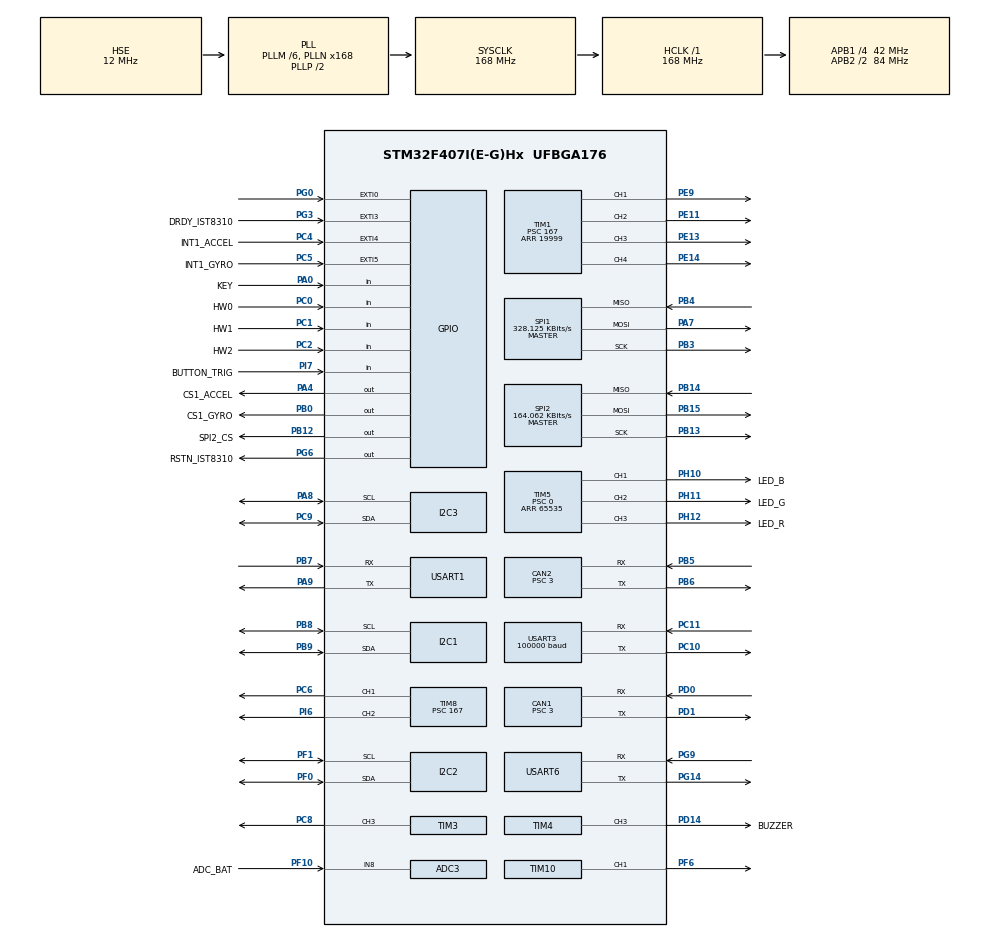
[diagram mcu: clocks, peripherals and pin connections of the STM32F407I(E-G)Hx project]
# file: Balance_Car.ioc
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ADC1.Channel-0\#ChannelRegularConversion=ADC_CHANNEL_TEMPSENSOR
ADC1.ClockPrescaler=ADC_CLOCK_SYNC_PCLK_DIV6
ADC1.NbrOfConversionFlag=1
ADC1.Rank-0\#ChannelRegularConversion=1
ADC1.SamplingTime-0\#ChannelRegularConversion=ADC_SAMPLETIME_3CYCLES
ADC1.master=1
ADC3.Channel-0\#ChannelRegularConversion=ADC_CHANNEL_8
ADC3.ClockPrescaler=ADC_CLOCK_SYNC_PCLK_DIV6
ADC3.NbrOfConversionFlag=1
ADC3.Rank-0\#ChannelRegularConversion=1
ADC3.SamplingTime-0\#ChannelRegularConversion=ADC_SAMPLETIME_3CYCLES
CAN1.BS1=CAN_BS1_10TQ
CAN1.BS2=CAN_BS2_3TQ
CAN1.CalculateBaudRate=1000000
CAN1.CalculateTimeQuantum=71.42857142857143
CAN1.Prescaler=3
CAN2.BS1=CAN_BS1_10TQ
CAN2.BS2=CAN_BS2_3TQ
CAN2.CalculateBaudRate=1000000
CAN2.CalculateTimeQuantum=71.42857142857143
CAN2.Prescaler=3
Dma.I2C2_TX.2.Direction=DMA_MEMORY_TO_PERIPH
Dma.I2C2_TX.2.FIFOMode=DMA_FIFOMODE_DISABLE
Dma.I2C2_TX.2.Instance=DMA1_Stream7
Dma.I2C2_TX.2.MemDataAlignment=DMA_MDATAALIGN_BYTE
Dma.I2C2_TX.2.MemInc=DMA_MINC_ENABLE
Dma.I2C2_TX.2.Mode=DMA_NORMAL
Dma.I2C2_TX.2.PeriphDataAlignment=DMA_PDATAALIGN_BYTE
Dma.I2C2_TX.2.PeriphInc=DMA_PINC_DISABLE
Dma.I2C2_TX.2.Priority=DMA_PRIORITY_HIGH
Dma.Request0=SPI1_RX
Dma.Request1=SPI1_TX
Dma.Request2=I2C2_TX
Dma.Request3=USART3_RX
Dma.Request4=USART6_RX
Dma.Request5=USART6_TX
Dma.Request6=USART1_TX
Dma.SPI1_RX.0.Direction=DMA_PERIPH_TO_MEMORY
Dma.SPI1_RX.0.FIFOMode=DMA_FIFOMODE_DISABLE
Dma.SPI1_RX.0.Instance=DMA2_Stream2
Dma.SPI1_RX.0.MemDataAlignment=DMA_MDATAALIGN_BYTE
Dma.SPI1_RX.0.MemInc=DMA_MINC_ENABLE
Dma.SPI1_RX.0.Mode=DMA_NORMAL
Dma.SPI1_RX.0.PeriphDataAlignment=DMA_PDATAALIGN_BYTE
Dma.SPI1_RX.0.PeriphInc=DMA_PINC_DISABLE
Dma.SPI1_RX.0.Priority=DMA_PRIORITY_VERY_HIGH
Dma.SPI1_TX.1.Direction=DMA_MEMORY_TO_PERIPH
Dma.SPI1_TX.1.FIFOMode=DMA_FIFOMODE_DISABLE
Dma.SPI1_TX.1.Instance=DMA2_Stream3
Dma.SPI1_TX.1.MemDataAlignment=DMA_MDATAALIGN_BYTE
Dma.SPI1_TX.1.MemInc=DMA_MINC_ENABLE
Dma.SPI1_TX.1.Mode=DMA_NORMAL
Dma.SPI1_TX.1.PeriphDataAlignment=DMA_PDATAALIGN_BYTE
Dma.SPI1_TX.1.PeriphInc=DMA_PINC_DISABLE
Dma.SPI1_TX.1.Priority=DMA_PRIORITY_HIGH
Dma.USART1_TX.6.Direction=DMA_MEMORY_TO_PERIPH
Dma.USART1_TX.6.FIFOMode=DMA_FIFOMODE_DISABLE
Dma.USART1_TX.6.Instance=DMA2_Stream7
Dma.USART1_TX.6.MemDataAlignment=DMA_MDATAALIGN_BYTE
Dma.USART1_TX.6.MemInc=DMA_MINC_ENABLE
Dma.USART1_TX.6.Mode=DMA_NORMAL
Dma.USART1_TX.6.PeriphDataAlignment=DMA_PDATAALIGN_BYTE
Dma.USART1_TX.6.PeriphInc=DMA_PINC_DISABLE
Dma.USART1_TX.6.Priority=DMA_PRIORITY_MEDIUM
Dma.USART3_RX.3.Direction=DMA_PERIPH_TO_MEMORY
Dma.USART3_RX.3.FIFOMode=DMA_FIFOMODE_DISABLE
Dma.USART3_RX.3.Instance=DMA1_Stream1
Dma.USART3_RX.3.MemDataAlignment=DMA_MDATAALIGN_BYTE
Dma.USART3_RX.3.MemInc=DMA_MINC_ENABLE
Dma.USART3_RX.3.Mode=DMA_NORMAL
Dma.USART3_RX.3.PeriphDataAlignment=DMA_PDATAALIGN_BYTE
Dma.USART3_RX.3.PeriphInc=DMA_PINC_DISABLE
Dma.USART3_RX.3.Priority=DMA_PRIORITY_HIGH
Dma.USART6_RX.4.Direction=DMA_PERIPH_TO_MEMORY
Dma.USART6_RX.4.FIFOMode=DMA_FIFOMODE_DISABLE
Dma.USART6_RX.4.Instance=DMA2_Stream1
Dma.USART6_RX.4.MemDataAlignment=DMA_MDATAALIGN_BYTE
Dma.USART6_RX.4.MemInc=DMA_MINC_ENABLE
Dma.USART6_RX.4.Mode=DMA_NORMAL
Dma.USART6_RX.4.PeriphDataAlignment=DMA_PDATAALIGN_BYTE
Dma.USART6_RX.4.PeriphInc=DMA_PINC_DISABLE
Dma.USART6_RX.4.Priority=DMA_PRIORITY_HIGH
Dma.USART6_TX.5.Direction=DMA_MEMORY_TO_PERIPH
Dma.USART6_TX.5.FIFOMode=DMA_FIFOMODE_DISABLE
Dma.USART6_TX.5.Instance=DMA2_Stream6
Dma.USART6_TX.5.MemDataAlignment=DMA_MDATAALIGN_BYTE
Dma.USART6_TX.5.MemInc=DMA_MINC_ENABLE
Dma.USART6_TX.5.Mode=DMA_NORMAL
Dma.USART6_TX.5.PeriphDataAlignment=DMA_PDATAALIGN_BYTE
Dma.USART6_TX.5.PeriphInc=DMA_PINC_DISABLE
Dma.USART6_TX.5.Priority=DMA_PRIORITY_MEDIUM
FREERTOS.INCLUDE_eTaskGetState=1
FREERTOS.INCLUDE_pcTaskGetTaskName=1
FREERTOS.INCLUDE_uxTaskGetStackHighWaterMark=1
FREERTOS.INCLUDE_vTaskCleanUpResources=1
FREERTOS.INCLUDE_vTaskDelayUntil=1
FREERTOS.INCLUDE_xEventGroupSetBitFromISR=1
FREERTOS.INCLUDE_xQueueGetMutexHolder=1
FREERTOS.INCLUDE_xSemaphoreGetMutexHolder=1
FREERTOS.INCLUDE_xTaskAbortDelay=1
FREERTOS.INCLUDE_xTaskGetCurrentTaskHandle=1
FREERTOS.INCLUDE_xTaskGetHandle=1
FREERTOS.INCLUDE_xTimerPendFunctionCall=1
FREERTOS.Tasks01=test,24,128,test_task,As weak,NULL,Dynamic,NULL,NULL
FREERTOS.configTOTAL_HEAP_SIZE=24576
I2C1.I2C_Mode=I2C_Fast
I2C2.I2C_Mode=I2C_Fast
I2C3.I2C_Mode=I2C_Fast
Mcu.Family=STM32F4
Mcu.Name=STM32F407I(E-G)Hx
Mcu.Package=UFBGA176
NVIC.CAN1_RX0_IRQn=true\:6\:0\:true\:false\:true\:true\:true\:true\:true
NVIC.CAN2_RX0_IRQn=true\:6\:0\:true\:false\:true\:true\:true\:true\:true
NVIC.DMA1_Stream1_IRQn=true\:5\:0\:true\:false\:false\:true\:false\:false\:true
NVIC.DMA1_Stream7_IRQn=true\:5\:0\:true\:false\:false\:true\:false\:true\:true
NVIC.DMA2_Stream1_IRQn=true\:5\:0\:true\:false\:true\:true\:false\:true\:true
NVIC.DMA2_Stream2_IRQn=true\:5\:0\:true\:false\:false\:true\:false\:true\:true
NVIC.DMA2_Stream3_IRQn=true\:5\:0\:true\:false\:false\:true\:false\:true\:true
NVIC.DMA2_Stream6_IRQn=true\:5\:0\:true\:false\:true\:true\:false\:true\:true
NVIC.DMA2_Stream7_IRQn=true\:5\:0\:true\:false\:true\:true\:false\:true\:true
NVIC.EXTI0_IRQn=true\:6\:0\:true\:false\:true\:true\:true\:true\:true
NVIC.EXTI3_IRQn=true\:5\:0\:true\:false\:true\:true\:true\:true\:true
NVIC.EXTI4_IRQn=true\:5\:0\:true\:false\:true\:true\:true\:true\:true
NVIC.EXTI9_5_IRQn=true\:5\:0\:true\:false\:true\:true\:true\:true\:true
NVIC.PriorityGroup=NVIC_PRIORITYGROUP_4
NVIC.USART3_IRQn=true\:4\:0\:true\:false\:false\:false\:true\:true\:true
NVIC.USART6_IRQn=true\:5\:0\:true\:false\:false\:true\:true\:true\:true
PA0-WKUP.GPIO_Label=KEY
PA0-WKUP.GPIO_PuPd=GPIO_PULLUP
PA0-WKUP.Signal=GPIO_Input
PA13.Mode=Serial_Wire
PA13.Signal=SYS_JTMS-SWDIO
PA14.Mode=Serial_Wire
PA14.Signal=SYS_JTCK-SWCLK
PA4.GPIO_Label=CS1_ACCEL
PA4.GPIO_PuPd=GPIO_PULLUP
PA4.GPIO_Speed=GPIO_SPEED_FREQ_HIGH
PA4.PinState=GPIO_PIN_SET
PA4.Signal=GPIO_Output
PA7.GPIO_PuPd=GPIO_PULLUP
PA7.Mode=Full_Duplex_Master
PA7.Signal=SPI1_MOSI
PA8.GPIO_Pu=GPIO_PULLUP
PA8.Mode=I2C
PA8.Signal=I2C3_SCL
PA9.Mode=Asynchronous
PA9.Signal=USART1_TX
PB0.GPIO_Label=CS1_GYRO
PB0.GPIO_PuPd=GPIO_PULLUP
PB0.GPIO_Speed=GPIO_SPEED_FREQ_HIGH
PB0.PinState=GPIO_PIN_SET
PB0.Signal=GPIO_Output
PB12.GPIO_Label=SPI2_CS
PB12.GPIO_PuPd=GPIO_PULLUP
PB12.GPIO_Speed=GPIO_SPEED_FREQ_MEDIUM
PB12.PinState=GPIO_PIN_SET
PB12.Signal=GPIO_Output
PB13.GPIO_PuPd=GPIO_PULLUP
PB13.Mode=Full_Duplex_Master
PB13.Signal=SPI2_SCK
PB14.GPIO_PuPd=GPIO_PULLUP
PB14.Mode=Full_Duplex_Master
PB14.Signal=SPI2_MISO
PB15.GPIO_PuPd=GPIO_PULLUP
PB15.Mode=Full_Duplex_Master
PB15.Signal=SPI2_MOSI
PB3.GPIO_PuPd=GPIO_PULLUP
PB3.Mode=Full_Duplex_Master
PB3.Signal=SPI1_SCK
PB4.GPIO_PuPd=GPIO_PULLUP
PB4.Mode=Full_Duplex_Master
PB4.Signal=SPI1_MISO
PB5.Mode=CAN_Activate
PB5.Signal=CAN2_RX
PB6.Mode=CAN_Activate
PB6.Signal=CAN2_TX
PB7.Mode=Asynchronous
PB7.Signal=USART1_RX
PB8.GPIO_Pu=GPIO_PULLUP
PB8.Mode=I2C
PB8.Signal=I2C1_SCL
PB9.GPIO_Pu=GPIO_PULLUP
PB9.Mode=I2C
PB9.Signal=I2C1_SDA
PC0.GPIO_Label=HW0
PC0.Signal=GPIO_Input
PC1.GPIO_Label=HW1
PC1.Signal=GPIO_Input
PC10.Mode=Asynchronous
PC10.Signal=USART3_TX
PC11.Mode=Asynchronous
PC11.Signal=USART3_RX
PC2.GPIO_Label=HW2
PC2.Signal=GPIO_Input
PC4.GPIO_Label=INT1_ACCEL
PC4.GPIO_ModeDefaultEXTI=GPIO_MODE_IT_FALLING
PC4.GPIO_PuPd=GPIO_PULLUP
PC4.Signal=GPXTI4
PC5.GPIO_Label=INT1_GYRO
PC5.GPIO_ModeDefaultEXTI=GPIO_MODE_IT_FALLING
PC5.GPIO_PuPd=GPIO_PULLUP
PC5.Signal=GPXTI5
PC6.GPIO_PuPd=GPIO_PULLUP
PC6.GPIO_Speed=GPIO_SPEED_FREQ_HIGH
PC6.Signal=S_TIM8_CH1
PC8.GPIO_PuPd=GPIO_PULLUP
PC8.GPIO_Speed=GPIO_SPEED_FREQ_HIGH
PC8.Signal=S_TIM3_CH3
PC9.GPIO_Pu=GPIO_PULLUP
PC9.Mode=I2C
PC9.Signal=I2C3_SDA
PD0.Mode=CAN_Activate
PD0.Signal=CAN1_RX
PD1.Mode=CAN_Activate
PD1.Signal=CAN1_TX
PD14.GPIO_Label=BUZZER
PD14.GPIO_PuPd=GPIO_PULLUP
PD14.GPIO_Speed=GPIO_SPEED_FREQ_VERY_HIGH
PD14.Signal=S_TIM4_CH3
PE11.GPIO_PuPd=GPIO_PULLUP
PE11.GPIO_Speed=GPIO_SPEED_FREQ_HIGH
PE11.Signal=S_TIM1_CH2
PE13.GPIO_PuPd=GPIO_PULLUP
PE13.GPIO_Speed=GPIO_SPEED_FREQ_HIGH
PE13.Signal=S_TIM1_CH3
PE14.GPIO_PuPd=GPIO_PULLUP
PE14.GPIO_Speed=GPIO_SPEED_FREQ_HIGH
PE14.Signal=S_TIM1_CH4
PE9.GPIO_PuPd=GPIO_PULLUP
PE9.GPIO_Speed=GPIO_SPEED_FREQ_HIGH
PE9.Signal=S_TIM1_CH1
PF0.GPIO_Pu=GPIO_PULLUP
PF0.Mode=I2C
PF0.Signal=I2C2_SDA
PF1.GPIO_Pu=GPIO_PULLUP
PF1.Mode=I2C
PF1.Signal=I2C2_SCL
PF10.GPIO_Label=ADC_BAT
PF10.Mode=IN8
PF10.Signal=ADC3_IN8
PF6.GPIO_PuPd=GPIO_PULLUP
PF6.GPIO_Speed=GPIO_SPEED_FREQ_HIGH
PF6.Signal=S_TIM10_CH1
PG0.GPIO_ModeDefaultEXTI=GPIO_MODE_IT_FALLING
PG0.GPIO_PuPd=GPIO_PULLUP
PG0.Signal=GPXTI0
PG14.Mode=Asynchronous
PG14.Signal=USART6_TX
PG3.GPIO_Label=DRDY_IST8310
PG3.GPIO_ModeDefaultEXTI=GPIO_MODE_IT_FALLING
PG3.GPIO_PuPd=GPIO_PULLUP
PG3.Signal=GPXTI3
PG6.GPIO_Label=RSTN_IST8310
PG6.GPIO_PuPd=GPIO_PULLUP
PG6.GPIO_Speed=GPIO_SPEED_FREQ_MEDIUM
PG6.PinState=GPIO_PIN_SET
PG6.Signal=GPIO_Output
PG9.Mode=Asynchronous
PG9.Signal=USART6_RX
PH0-OSC_IN.Mode=HSE-External-Oscillator
PH0-OSC_IN.Signal=RCC_OSC_IN
PH1-OSC_OUT.Mode=HSE-External-Oscillator
PH1-OSC_OUT.Signal=RCC_OSC_OUT
PH10.GPIO_Label=LED_B
PH10.GPIO_PuPd=GPIO_PULLUP
PH10.GPIO_Speed=GPIO_SPEED_FREQ_HIGH
PH10.Signal=S_TIM5_CH1
PH11.GPIO_Label=LED_G
PH11.GPIO_PuPd=GPIO_PULLUP
PH11.GPIO_Speed=GPIO_SPEED_FREQ_HIGH
PH11.Signal=S_TIM5_CH2
PH12.GPIO_Label=LED_R
PH12.GPIO_PuPd=GPIO_PULLUP
PH12.GPIO_Speed=GPIO_SPEED_FREQ_HIGH
PH12.Signal=S_TIM5_CH3
PI6.GPIO_PuPd=GPIO_PULLUP
PI6.GPIO_Speed=GPIO_SPEED_FREQ_HIGH
PI6.Signal=S_TIM8_CH2
PI7.GPIO_Label=BUTTON_TRIG
PI7.GPIO_PuPd=GPIO_PULLUP
PI7.Signal=GPIO_Input
ProjectManager.HeapSize=0x2000
ProjectManager.StackSize=0x2000
ProjectManager.TargetToolchain=MDK-ARM V5.32
RCC.48MHZClocksFreq_Value=48000000
RCC.AHBFreq_Value=168000000
RCC.APB1CLKDivider=RCC_HCLK_DIV4
RCC.APB1Freq_Value=42000000
RCC.APB1TimFreq_Value=84000000
RCC.APB2CLKDivider=RCC_HCLK_DIV2
RCC.APB2Freq_Value=84000000
RCC.APB2TimFreq_Value=168000000
RCC.CortexFreq_Value=168000000
RCC.HCLKFreq_Value=168000000
RCC.HSE_VALUE=12000000
RCC.HSI_VALUE=16000000
RCC.LSE_VALUE=32768
RCC.PLLM=6
RCC.PLLN=168
RCC.PLLQ=7
RCC.PLLSourceVirtual=RCC_PLLSOURCE_HSE
RCC.RCC_RTC_Clock_SourceVirtual=RCC_RTCCLKSOURCE_HSE_DIV30
RCC.RCC_RTC_Clock_Source_FROM_HSE=RCC_RTCCLKSOURCE_HSE_DIV30
RCC.SYSCLKFreq_VALUE=168000000
RCC.SYSCLKSource=RCC_SYSCLKSOURCE_PLLCLK
RCC.VCOOutputFreq_Value=336000000
RTC.AsynchPrediv=124
RTC.SynchPrediv=3199
SH.S_TIM10_CH1.0=TIM10_CH1,PWM Generation1 CH1
SH.S_TIM1_CH1.0=TIM1_CH1,PWM Generation1 CH1
SH.S_TIM1_CH2.0=TIM1_CH2,PWM Generation2 CH2
SH.S_TIM1_CH3.0=TIM1_CH3,PWM Generation3 CH3
SH.S_TIM1_CH4.0=TIM1_CH4,PWM Generation4 CH4
SH.S_TIM3_CH3.0=TIM3_CH3,PWM Generation3 CH3
SH.S_TIM4_CH3.0=TIM4_CH3,PWM Generation3 CH3
SH.S_TIM5_CH1.0=TIM5_CH1,PWM Generation1 CH1
SH.S_TIM5_CH2.0=TIM5_CH2,PWM Generation2 CH2
SH.S_TIM5_CH3.0=TIM5_CH3,PWM Generation3 CH3
SH.S_TIM8_CH1.0=TIM8_CH1,PWM Generation1 CH1
SH.S_TIM8_CH2.0=TIM8_CH2,PWM Generation2 CH2
SPI1.BaudRatePrescaler=SPI_BAUDRATEPRESCALER_256
SPI1.CLKPhase=SPI_PHASE_2EDGE
SPI1.CLKPolarity=SPI_POLARITY_HIGH
SPI1.CalculateBaudRate=328.125 KBits/s
SPI1.Direction=SPI_DIRECTION_2LINES
SPI1.Mode=SPI_MODE_MASTER
SPI1.VirtualType=VM_MASTER
SPI2.BaudRatePrescaler=SPI_BAUDRATEPRESCALER_256
SPI2.CLKPhase=SPI_PHASE_2EDGE
SPI2.CLKPolarity=SPI_POLARITY_HIGH
SPI2.CalculateBaudRate=164.062 KBits/s
SPI2.Direction=SPI_DIRECTION_2LINES
SPI2.Mode=SPI_MODE_MASTER
SPI2.VirtualType=VM_MASTER
TIM1.Channel-PWM\ Generation1\ CH1=TIM_CHANNEL_1
TIM1.Channel-PWM\ Generation2\ CH2=TIM_CHANNEL_2
TIM1.Channel-PWM\ Generation3\ CH3=TIM_CHANNEL_3
TIM1.Channel-PWM\ Generation4\ CH4=TIM_CHANNEL_4
TIM1.Period=19999
TIM1.Prescaler=167
TIM1.Pulse-PWM\ Generation1\ CH1=1000
TIM1.Pulse-PWM\ Generation2\ CH2=1000
TIM1.Pulse-PWM\ Generation3\ CH3=1000
TIM1.Pulse-PWM\ Generation4\ CH4=1000
TIM10.Channel=TIM_CHANNEL_1
TIM10.Period=4999
TIM3.Channel-PWM\ Generation3\ CH3=TIM_CHANNEL_3
TIM3.Period=8399
TIM4.Channel-PWM\ Generation3\ CH3=TIM_CHANNEL_3
TIM4.Period=65535
TIM4.Prescaler=167
TIM5.Channel-PWM\ Generation1\ CH1=TIM_CHANNEL_1
TIM5.Channel-PWM\ Generation2\ CH2=TIM_CHANNEL_2
TIM5.Channel-PWM\ Generation3\ CH3=TIM_CHANNEL_3
TIM5.Period=65535
TIM5.Prescaler=0
TIM8.Channel-PWM\ Generation1\ CH1=TIM_CHANNEL_1
TIM8.Channel-PWM\ Generation2\ CH2=TIM_CHANNEL_2
TIM8.Period=19999
TIM8.Prescaler=167
TIM8.Pulse-PWM\ Generation1\ CH1=1000
TIM8.Pulse-PWM\ Generation2\ CH2=1000
USART1.VirtualMode=VM_ASYNC
USART3.BaudRate=100000
USART3.Parity=PARITY_EVEN
USART3.VirtualMode=VM_ASYNC
USART6.VirtualMode=VM_ASYNC
VP_ADC1_TempSens_Input.Mode=IN-TempSens
VP_ADC1_Vref_Input.Mode=IN-Vrefint
VP_CRC_VS_CRC.Mode=CRC_Activate
VP_FREERTOS_VS_CMSIS_V1.Mode=CMSIS_V1
VP_RNG_VS_RNG.Mode=RNG_Activate
VP_RTC_VS_RTC_Activate.Mode=RTC_Enabled
VP_TIM10_VS_ClockSourceINT.Mode=Enable_Timer
VP_TIM1_VS_ClockSourceINT.Mode=Internal
VP_TIM3_VS_ClockSourceINT.Mode=Internal
VP_TIM4_VS_ClockSourceINT.Mode=Internal
VP_TIM5_VS_ClockSourceINT.Mode=Internal
VP_TIM8_VS_ClockSourceINT.Mode=Internal
board=custom

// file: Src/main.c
/* USER CODE BEGIN Header */
/**
  ******************************************************************************
  * @file           : main.c
  * @brief          : Main program body
  ******************************************************************************
  * @attention
  *
  * <h2><center>&copy; Copyright (c) 2019 STMicroelectronics.
  * All rights reserved.</center></h2>
  *
  * This software component is licensed by ST under Ultimate Liberty license
  * SLA0044, the "License"; You may not use this file except in compliance with
  * the License. You may obtain a copy of the License at:
  *                             www.st.com/SLA0044
  *
  ******************************************************************************
  */
/* USER CODE END Header */

#include "main.h"
#include "cmsis_os.h"
#include "adc.h"
#include "can.h"
#include "crc.h"
#include "dma.h"
#include "i2c.h"
#include "rng.h"
#include "rtc.h"
#include "spi.h"
#include "tim.h"
#include "usart.h"
#include "gpio.h"

/* USER CODE BEGIN Includes */

#include "bsp_can.h"
#include "bsp_delay.h"
#include "bsp_usart.h"

#include "remote_control.h"

#include "chassis_task.h"
#include "gimbal_task.h"
#include "INS_task.h"

/* USER CODE END Includes */

void SystemClock_Config(void);
void MX_FREERTOS_Init(void);

int main(void)
{

  /* MCU Configuration--------------------------------------------------------*/

  /* Reset of all peripherals, Initializes the Flash interface and the Systick. */
  HAL_Init();

  /* Configure the system clock */
  SystemClock_Config();

  /* Initialize all configured peripherals */
  MX_GPIO_Init();
  MX_DMA_Init();
  MX_ADC1_Init();
  MX_ADC3_Init();
  MX_CAN1_Init();
  MX_CAN2_Init();
  MX_I2C1_Init();
  MX_SPI1_Init();
  MX_TIM4_Init();
  MX_TIM5_Init();
  MX_USART3_UART_Init();
  MX_TIM8_Init();
  MX_CRC_Init();
  MX_RNG_Init();
  MX_I2C2_Init();
  MX_I2C3_Init();
  MX_RTC_Init();
  MX_SPI2_Init();
  MX_TIM1_Init();
  MX_TIM3_Init();
  MX_TIM10_Init();
  MX_USART1_UART_Init();
  MX_USART6_UART_Init();
  /* USER CODE BEGIN 2 */
	remote_control_init();
    can_filter_init();
    delay_init();
  /* USER CODE END 2 */

  /* Call init function for freertos objects (in freertos.c) */
  MX_FREERTOS_Init();

  /* Start scheduler */
  osKernelStart();

  /* We should never get here as control is now taken by the scheduler */

  /* Infinite loop */
  while (1)
  {

  }
}

void SystemClock_Config(void)
{
  RCC_OscInitTypeDef RCC_OscInitStruct = {0};
  RCC_ClkInitTypeDef RCC_ClkInitStruct = {0};
  RCC_PeriphCLKInitTypeDef PeriphClkInitStruct = {0};

  /** Configure the main internal regulator output voltage
  */
  __HAL_RCC_PWR_CLK_ENABLE();
  __HAL_PWR_VOLTAGESCALING_CONFIG(PWR_REGULATOR_VOLTAGE_SCALE1);
  /** Initializes the CPU, AHB and APB busses clocks
  */
  RCC_OscInitStruct.OscillatorType = RCC_OSCILLATORTYPE_HSE;
  RCC_OscInitStruct.HSEState = RCC_HSE_ON;
  RCC_OscInitStruct.PLL.PLLState = RCC_PLL_ON;
  RCC_OscInitStruct.PLL.PLLSource = RCC_PLLSOURCE_HSE;
  RCC_OscInitStruct.PLL.PLLM = 6;
  RCC_OscInitStruct.PLL.PLLN = 168;
  RCC_OscInitStruct.PLL.PLLP = RCC_PLLP_DIV2;
  RCC_OscInitStruct.PLL.PLLQ = 7;
  if (HAL_RCC_OscConfig(&RCC_OscInitStruct) != HAL_OK)
  {
    Error_Handler();
  }
  /** Initializes the CPU, AHB and APB busses clocks
  */
  RCC_ClkInitStruct.ClockType = RCC_CLOCKTYPE_HCLK|RCC_CLOCKTYPE_SYSCLK
                              |RCC_CLOCKTYPE_PCLK1|RCC_CLOCKTYPE_PCLK2;
  RCC_ClkInitStruct.SYSCLKSource = RCC_SYSCLKSOURCE_PLLCLK;
  RCC_ClkInitStruct.AHBCLKDivider = RCC_SYSCLK_DIV1;
  RCC_ClkInitStruct.APB1CLKDivider = RCC_HCLK_DIV4;
  RCC_ClkInitStruct.APB2CLKDivider = RCC_HCLK_DIV2;

  if (HAL_RCC_ClockConfig(&RCC_ClkInitStruct, FLASH_LATENCY_5) != HAL_OK)
  {
    Error_Handler();
  }
  PeriphClkInitStruct.PeriphClockSelection = RCC_PERIPHCLK_RTC;
  PeriphClkInitStruct.RTCClockSelection = RCC_RTCCLKSOURCE_HSE_DIV30;
  if (HAL_RCCEx_PeriphCLKConfig(&PeriphClkInitStruct) != HAL_OK)
  {
    Error_Handler();
  }
}

void Error_Handler(void)
{
}

/************************ (C) COPYRIGHT STMicroelectronics *****END OF FILE****/

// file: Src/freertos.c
/* USER CODE BEGIN Header */
/**
 ******************************************************************************
 * File Name          : freertos.c
 * Description        : Code for freertos applications
 ******************************************************************************
 * @attention
 *
 * <h2><center>&copy; Copyright (c) 2019 STMicroelectronics.
 * All rights reserved.</center></h2>
 *
 * This software component is licensed by ST under Ultimate Liberty license
 * SLA0044, the "License"; You may not use this file except in compliance with
 * the License. You may obtain a copy of the License at:
 *                             www.st.com/SLA0044
 *
 ******************************************************************************
 */
/* USER CODE END Header */

#include "FreeRTOS.h"
#include "task.h"
#include "main.h"
#include "cmsis_os.h"

/* USER CODE BEGIN Includes */

// #include "calibrate_task.h"
#include "chassis_task.h"
#include "detect_task.h"
// #include "gimbal_task.h"
#include "INS_task.h"
// #include "led_flow_task.h"
// #include "oled_task.h"
// #include "referee_usart_task.h"
// #include "usb_task.h"
// #include "voltage_task.h"
// #include "servo_task.h"

/* USER CODE END Includes */

/* USER CODE BEGIN Variables */

osThreadId imuTaskHandle;
osThreadId detect_handle;
osThreadId chassisTaskHandle;

/* USER CODE END Variables */
osThreadId testHandle;

void test_task(void const *argument);

void MX_FREERTOS_Init(void); /* (MISRA C 2004 rule 8.1) */

/* GetIdleTaskMemory prototype (linked to static allocation support) */
void vApplicationGetIdleTaskMemory(StaticTask_t **ppxIdleTaskTCBBuffer, StackType_t **ppxIdleTaskStackBuffer, uint32_t *pulIdleTaskStackSize);

/* GetTimerTaskMemory prototype (linked to static allocation support) */
void vApplicationGetTimerTaskMemory(StaticTask_t **ppxTimerTaskTCBBuffer, StackType_t **ppxTimerTaskStackBuffer, uint32_t *pulTimerTaskStackSize);

/* USER CODE BEGIN GET_IDLE_TASK_MEMORY */
static StaticTask_t xIdleTaskTCBBuffer;
static StackType_t xIdleStack[configMINIMAL_STACK_SIZE];

void vApplicationGetIdleTaskMemory(StaticTask_t **ppxIdleTaskTCBBuffer, StackType_t **ppxIdleTaskStackBuffer, uint32_t *pulIdleTaskStackSize)
{
  *ppxIdleTaskTCBBuffer = &xIdleTaskTCBBuffer;
  *ppxIdleTaskStackBuffer = &xIdleStack[0];
  *pulIdleTaskStackSize = configMINIMAL_STACK_SIZE;
  /* place for user code */
}
/* USER CODE END GET_IDLE_TASK_MEMORY */

/* USER CODE BEGIN GET_TIMER_TASK_MEMORY */
static StaticTask_t xTimerTaskTCBBuffer;
static StackType_t xTimerStack[configTIMER_TASK_STACK_DEPTH];

void vApplicationGetTimerTaskMemory(StaticTask_t **ppxTimerTaskTCBBuffer, StackType_t **ppxTimerTaskStackBuffer, uint32_t *pulTimerTaskStackSize)
{
  *ppxTimerTaskTCBBuffer = &xTimerTaskTCBBuffer;
  *ppxTimerTaskStackBuffer = &xTimerStack[0];
  *pulTimerTaskStackSize = configTIMER_TASK_STACK_DEPTH;
  /* place for user code */
}
/* USER CODE END GET_TIMER_TASK_MEMORY */

void MX_FREERTOS_Init(void)
{

  /* Create the thread(s) */
  /* definition and creation of test */
  osThreadDef(test, test_task, osPriorityNormal, 0, 128);
  testHandle = osThreadCreate(osThread(test), NULL);

  /* USER CODE BEGIN RTOS_THREADS */
  /* add threads, ... */

  osThreadDef(DETECT, detect_task, osPriorityNormal, 0, 256);
  detect_handle = osThreadCreate(osThread(DETECT), NULL);

  osThreadDef(imuTask, INS_task, osPriorityRealtime, 0, 1024);
  imuTaskHandle = osThreadCreate(osThread(imuTask), NULL);

  osThreadDef(chassisTask, chassis_task, osPriorityAboveNormal, 0, 512);
  chassisTaskHandle = osThreadCreate(osThread(chassisTask), NULL);

  /* USER CODE END RTOS_THREADS */
}

__weak void test_task(void const *argument)
{
  for (;;)
  {
    osDelay(1);
  }
}
